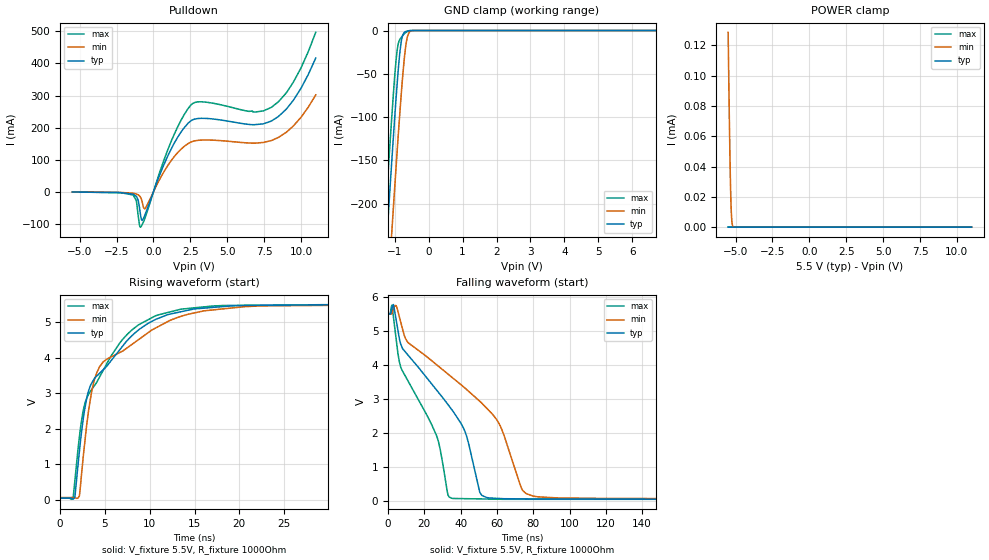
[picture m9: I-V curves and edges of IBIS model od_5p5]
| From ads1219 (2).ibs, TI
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|   od_5p5 Model
[Model]   od_5p5
Model_type   I/O_open_drain
Polarity   Non-Inverting
Enable   Active-Low
Vinl = 1.65
Vinh = 3.85
Vmeas = 2.75
Vref = 5.5
Cref = 2pF
Rref = 1000
|   typ   min   max
C_comp   1.04626E-12   1.00379E-12   1.08051E-12
[Model spec]
|subparameter
Vinl   1.65   1.6497   1.6503
Vinh   3.85   3.8493   3.8507
| Where Nom  PVT is Nominal Process, 5.5V, 27C
|   Fast PVT is Strong Process,  5.501V, -40C
|   Slow PVT is Weak Process,   5.499, 125C
[Voltage Range]   5.5   5.499   5.501
[Temperature Range]   27   125   -40
[Pullup Reference]   5.5   5.499   5.501
[Pulldown Reference]   -0   0   0
[Power Clamp Reference]   5.5   5.499   5.501
[GND Clamp Reference]   0   0   0
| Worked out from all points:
|   slope of the pulldown table from 0 to 0.825 V, typ, clamps not added: 8.53 ohm
|   GND clamp passes 1 mA (typ) near -0.67 V on its own axis
|   falling waveform, V_fixture 5.5V, R_fixture 1000Ohm: 20-80 % time 37.8ns typ, 51.8ns min, 24.7ns max; typ from 5.5 V to 0.042 V
|   rising waveform, V_fixture 5.5V, R_fixture 1000Ohm: 20-80 % time 5.17ns typ, 5.65ns min, 4.76ns max; typ from 0.042 V to 5.5 V
[Pulldown]
|   Voltage   I(typ)   I(min)   I(max)
-5.5V     -741.5uA   -641.7uA   -704.1uA
-1.375V   -7.601mA   -4.686mA   -10.1mA
-1.177V   -13.35mA   -6.695mA   -26.05mA
-1.028V   -27.91mA   -9.758mA   -77.31mA
-880mV    -71.36mA   -17.07mA   -110.3mA
-764.5mV  -89.1mA    -31.92mA   -102.3mA
-566.5mV  -70.81mA   -52.62mA   -80.95mA
1.117V    125.7mA    91.66mA    147.7mA
2.552V    221.7mA    155.2mA    271mA
7.964V    220.1mA    159.4mA    262.6mA
9.482V    285.4mA    205.2mA    341.8mA
11V       416.9mA    302mA      497.2mA
[GND Clamp]
|   Voltage   I(typ)   I(min)   I(max)
-5.5V     -3.038A    -3.113A    -2.991A
-1.359V   -316.2mA   -399.4mA   -263.8mA
-1.226V   -233.6mA   -316.7mA   -181.2mA
-1.095V   -153.1mA   -235.5mA   -101.9mA
-995.5mV  -95.58mA   -176.2mA   -48.46mA
-929.5mV  -60.12mA   -137.9mA   -22.21mA
-814mV    -13.43mA   -74.93mA   -7.99mA
-731.5mV  -2.806mA   -36.55mA   -4.179mA
-665.5mV  -926.5uA   -14.35mA   -1.916mA
-583mV    -176.6uA   -2.341mA   -405.4uA
-451mV    -6.088uA   -71.06uA   -8.878uA
11V       0A         0A         0A
[POWER Clamp]
|   Voltage   I(typ)   I(min)   I(max)
-5.5V     1.477nA    128.6uA    9.65nA
-5.45V    0A         92.49uA    0A
-5.401V   0A         59.88uA    0A
-5.368V   0A         41.01uA    0A
-5.351V   0A         32.73uA    0A
-5.319V   0A         19.07uA    0A
-5.302V   0A         13.85uA    0A
-5.285V   0A         9.714uA    0A
-5.253V   0A         4.358uA    0A
-5.22V    0A         1.78uA     0A
-5.154V   0A         237.2nA    0A
11V       0A         0A         0A
[Ramp]
R_load = 1000
|   typ   min   max
dV/dt_r   3.27489/5.15508e-09   3.26602/5.65336e-09   3.27871/4.76181e-09
dV/dt_f   3.27489/3.78347e-08   3.26602/5.15755e-08   3.27871/2.47704e-08
[Falling Waveform]
V_fixture = 5.5V
V_fixture_min = 5.499V
V_fixture_max = 5.501V
R_fixture = 1000Ohm
C_fixture = 0F
|   Time   V(typ)   V(min)   V(max)
0s        5.5V       5.499V     5.501V
2.117ns   5.65V      5.505V     5.743V
6.937ns   4.606V     5.256V     3.932V
26.64ns   3.257V     3.999V     1.919V
35.23ns   2.665V     3.624V     66.11mV
42.65ns   1.994V     3.295V     55.86mV
51.78ns   147mV      2.858V     47.59mV
73.79ns   50.59mV    333.6mV    37.6mV
79.81ns   48.19mV    133mV      37.58mV
240ns     41.86mV    55.63mV    36.48mV
[Rising Waveform]
V_fixture = 5.5V
V_fixture_min = 5.499V
V_fixture_max = 5.501V
R_fixture = 1000Ohm
C_fixture = 0F
|   Time   V(typ)   V(min)   V(max)
0s        41.86mV    55.63mV    36.48mV
1.431ns   15.11mV    55.97mV    30.85mV
1.661ns   106.1mV    44.66mV    577.1mV
2.136ns   1.325V     97.1mV     1.737V
3.199ns   3.085V     2.553V     2.986V
4.381ns   3.554V     3.736V     3.446V
8.001ns   4.618V     4.373V     4.781V
13.48ns   5.296V     5.167V     5.369V
22.43ns   5.478V     5.462V     5.481V
120ns     5.5V       5.499V     5.501V
